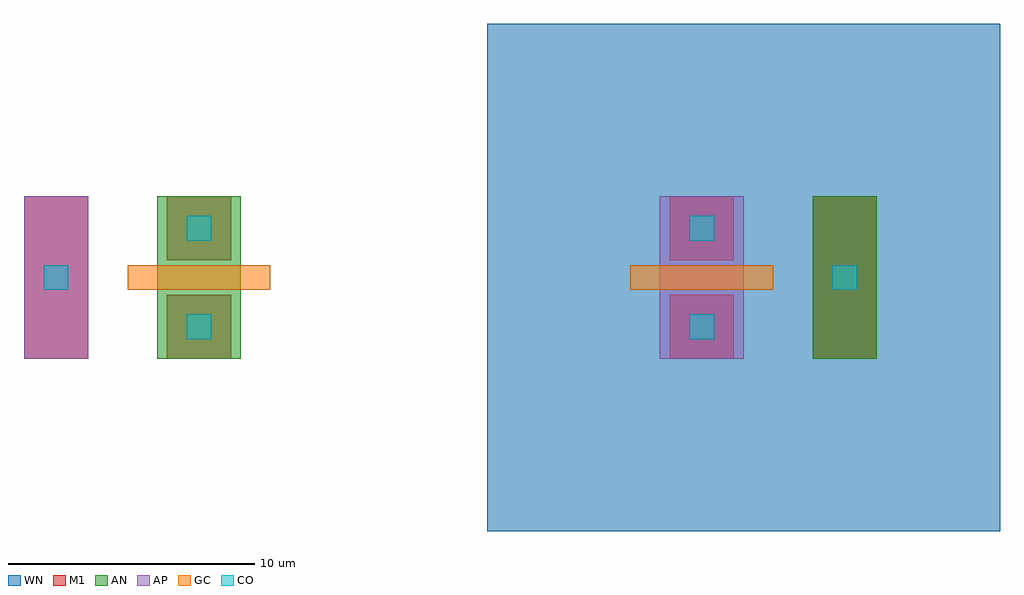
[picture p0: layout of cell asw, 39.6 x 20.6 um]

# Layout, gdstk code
from math import pi, radians
import gdstk
lib = gdstk.Library(unit=1e-6, precision=1e-07)
def R(c, l, rs):  # rectangles x0, y0, x1, y1
    for r in rs: c.add(gdstk.rectangle(r[:2], r[2:], *l))
AP = (3, 1)
AN = (3, 2)
GC = (8, 1)
CO = (11, 0)
M1 = (13, 0)
WN = (140, 0)

fet_n_1 = lib.new_cell('fet_n$1')
R(fet_n_1, AN, [(-3.3,-1.7,3.3,1.7)])
R(fet_n_1, CO, [(-2.5,-0.5,-1.5,0.5), (1.5,-0.5,2.5,0.5)])
R(fet_n_1, M1, [(-3.3,-1.3,-0.7,1.3), (0.7,-1.3,3.3,1.3)])
fet_n_1.add(gdstk.FlexPath([(0,-2.9),(0,2.9)], 1, ends="flush", simple_path=True, layer=8, datatype=1))  # GC

fet_p_1 = lib.new_cell('fet_p$1')
R(fet_p_1, AP, [(-3.3,-1.7,3.3,1.7)])
R(fet_p_1, CO, [(-2.5,-0.5,-1.5,0.5), (1.5,-0.5,2.5,0.5)])
R(fet_p_1, M1, [(-3.3,-1.3,-0.7,1.3), (0.7,-1.3,3.3,1.3)])
fet_p_1.add(gdstk.FlexPath([(0,-2.9),(0,2.9)], 1, ends="flush", simple_path=True, layer=8, datatype=1))  # GC

cont_n = lib.new_cell('cont_n')
R(cont_n, AN, [(-1.3,-1.3,1.3,1.3)])
R(cont_n, CO, [(-0.5,-0.5,0.5,0.5)])
R(cont_n, M1, [(-1.3,-1.3,1.3,1.3)])

cont_p = lib.new_cell('cont_p')
R(cont_p, AP, [(-1.3,-1.3,1.3,1.3)])
R(cont_p, CO, [(-0.5,-0.5,0.5,0.5)])
R(cont_p, M1, [(-1.3,-1.3,1.3,1.3)])

asw = lib.new_cell('asw')
R(asw, AP, [(-20.1,0.9,-17.5,7.5)])
R(asw, AN, [(11.9,0.9,14.5,7.5)])
R(asw, M1, [(-20.1,0.9,-17.5,7.5), (11.9,0.9,14.5,7.5)])
R(asw, WN, [(-1.3,-6.1,19.5,14.5)])
asw.add(gdstk.Reference(fet_n_1, (-13,4.2), rotation=3*pi/2))
asw.add(gdstk.Reference(fet_p_1, (7.4,4.2), rotation=3*pi/2))
asw.add(gdstk.Reference(cont_n, (13.2,4.2)))
asw.add(gdstk.Reference(cont_p, (-18.8,4.2)))

lib.write_gds('asw.gds')
